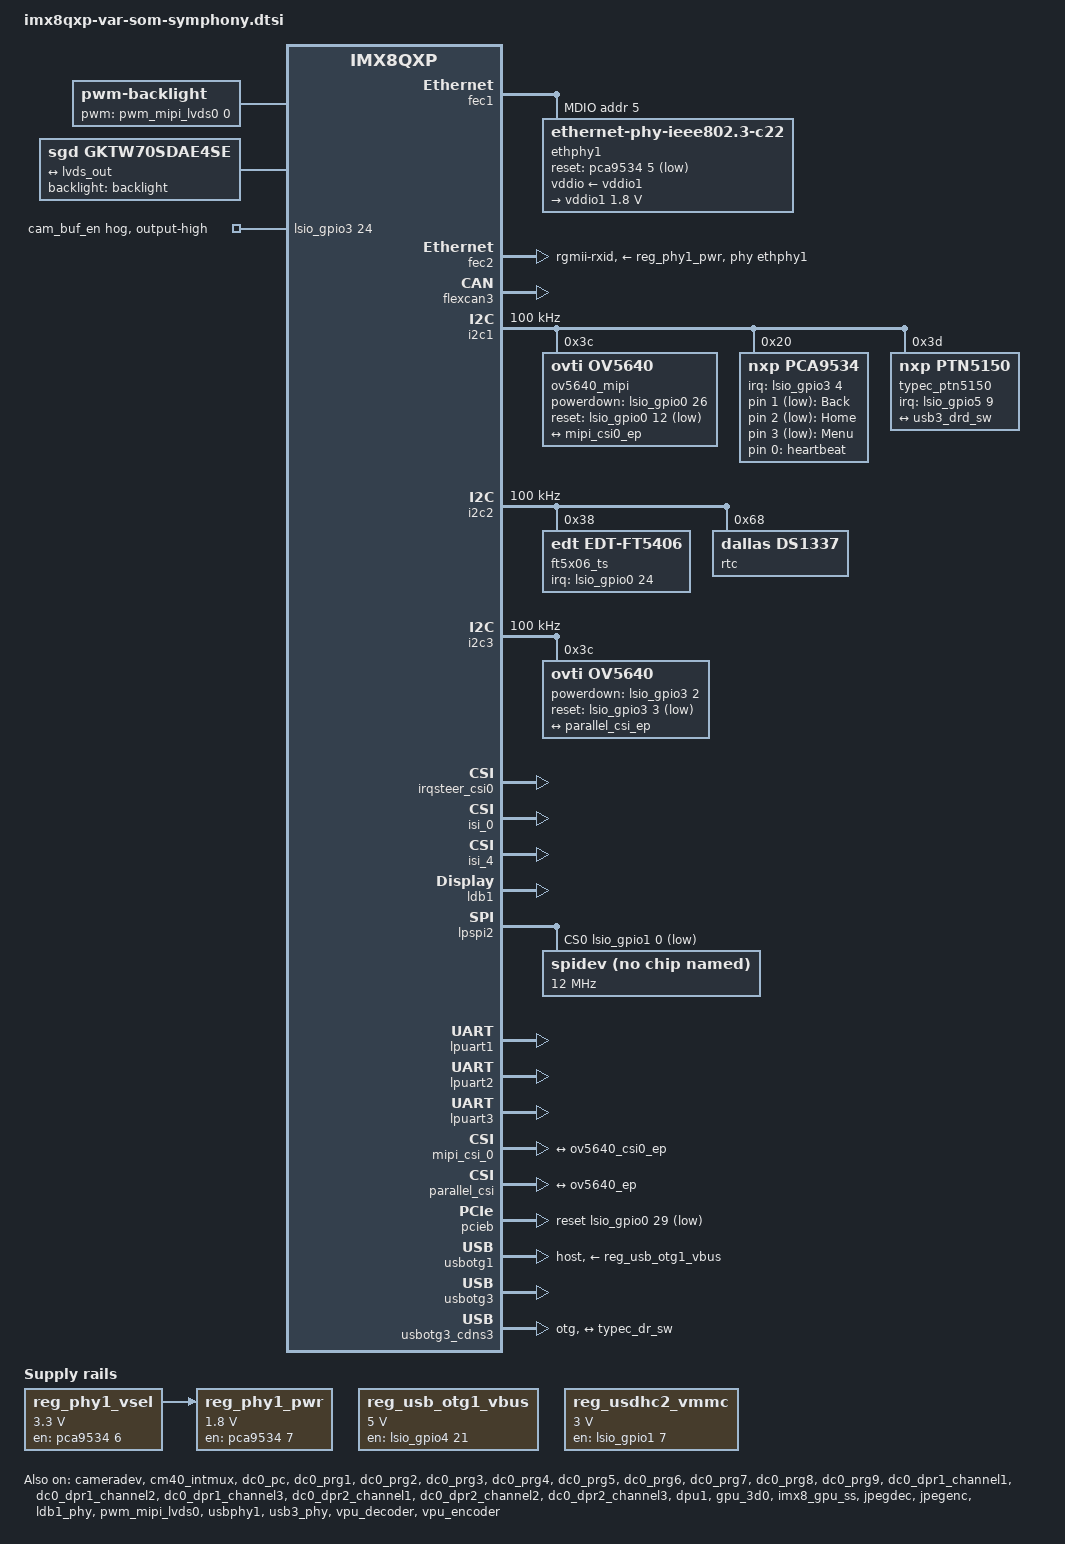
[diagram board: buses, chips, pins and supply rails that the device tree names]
// SPDX-License-Identifier: GPL-2.0+
/*
 * Copyright 2017-2020 NXP
 * Copyright 2019-2022 Variscite Ltd.
 */

#include "imx8qxp-var-som.dtsi"

/ {
	aliases {
		gpio8 = &pca9534;
	};

	chosen {
		stdout-path = &lpuart3;
	};

	backlight: backlight {
		compatible = "pwm-backlight";
		pwms = <&pwm_mipi_lvds0 0 100000 0>;

		brightness-levels = < 0  1  2  3  4  5  6  7  8  9
				     10 11 12 13 14 15 16 17 18 19
				     20 21 22 23 24 25 26 27 28 29
				     30 31 32 33 34 35 36 37 38 39
				     40 41 42 43 44 45 46 47 48 49
				     50 51 52 53 54 55 56 57 58 59
				     60 61 62 63 64 65 66 67 68 69
				     70 71 72 73 74 75 76 77 78 79
				     80 81 82 83 84 85 86 87 88 89
				     90 91 92 93 94 95 96 97 98 99
				    100>;
		default-brightness-level = <80>;
		status = "okay";
	};

	gpio-keys {
		compatible = "gpio-keys";

		back {
			label = "Back";
			gpios = <&pca9534 1 GPIO_ACTIVE_LOW>;
			linux,code = <KEY_BACK>;
		};

		home {
			label = "Home";
			gpios = <&pca9534 2 GPIO_ACTIVE_LOW>;
			linux,code = <KEY_HOME>;
		};

		 menu {
			label = "Menu";
			gpios = <&pca9534 3 GPIO_ACTIVE_LOW>;
			linux,code = <KEY_MENU>;
		};
	};

	leds {
		compatible = "gpio-leds";

		heartbeat {
			label = "heartbeat";
			gpios = <&pca9534 0 GPIO_ACTIVE_HIGH>;
			linux,default-trigger = "heartbeat";
		};
	};

	lvds_panel {
		compatible = "sgd,gktw70sdae4se", "panel-lvds";
		backlight = <&backlight>;
		width-mm = <153>;
		height-mm = <87>;
		label = "gktw70sdae4se";
		data-mapping = "jeida-24";
		status = "okay";

		panel-timing {
			clock-frequency = <29232000>;
			hactive = <800>;
			vactive = <480>;
			hback-porch = <40>;
			hfront-porch = <40>;
			vback-porch = <29>;
			vfront-porch = <13>;
			hsync-len = <48>;
			vsync-len = <3>;
			hsync-active = <0>;
			vsync-active = <0>;
			de-active = <1>;
			pixelclk-active = <0>;
		};

		port {
			panel_in: endpoint {
				remote-endpoint = <&lvds_out>;
			};
		};
	};

	regulators {
		compatible = "simple-bus";
		#address-cells = <1>;
		#size-cells = <0>;

		reg_phy1_vsel: regulator-phy1-vsel {
			compatible = "regulator-fixed";
			regulator-name = "phy1_vsel";
			regulator-min-microvolt = <3300000>;
			regulator-max-microvolt = <3300000>;
			regulator-always-on;
			gpio = <&pca9534 6 GPIO_ACTIVE_HIGH>;
			enable-active-high;
		};

		reg_phy1_pwr: regulator-phy1-pwr {
			compatible = "regulator-fixed";
			vin-supply = <&reg_phy1_vsel>;
			regulator-name = "phy1_supply";
			regulator-min-microvolt = <1800000>;
			regulator-max-microvolt = <1800000>;
			gpio = <&pca9534 7 GPIO_ACTIVE_HIGH>;
			enable-active-high;
			regulator-always-on;
		};

		reg_usb_otg1_vbus: regulator-usb-otg1-vbus {
			compatible = "regulator-fixed";
			regulator-name = "usb_otg1_vbus";
			regulator-min-microvolt = <5000000>;
			regulator-max-microvolt = <5000000>;
			gpio = <&lsio_gpio4 21 GPIO_ACTIVE_HIGH>;
			enable-active-high;
		};

		reg_usdhc2_vmmc: regulator-usdhc2-vmmc {
			compatible = "regulator-fixed";
			regulator-name = "sd_pwr";
			regulator-min-microvolt = <3000000>;
			regulator-max-microvolt = <3000000>;
			gpio = <&lsio_gpio1 7 GPIO_ACTIVE_HIGH>;
			off-on-delay = <3480>;
			enable-active-high;
		};
	};
};

&cameradev {
	parallel_csi;
	status = "okay";
};

&cm40_intmux {
	status = "okay";
};

&dc0_pc {
	status = "okay";
};

&dc0_prg1 {
	status = "okay";
};

&dc0_prg2 {
	status = "okay";

};

&dc0_prg3 {
	status = "okay";
};

&dc0_prg4 {
	status = "okay";
};

&dc0_prg5 {
	status = "okay";
};

&dc0_prg6 {
	status = "okay";
};

&dc0_prg7 {
	status = "okay";
};

&dc0_prg8 {
	status = "okay";
};

&dc0_prg9 {
	status = "okay";
};

&dc0_dpr1_channel1 {
	status = "okay";
};

&dc0_dpr1_channel2 {
	status = "okay";
};

&dc0_dpr1_channel3 {
	status = "okay";
};

&dc0_dpr2_channel1 {
	status = "okay";
};

&dc0_dpr2_channel2 {
	status = "okay";
};

&dc0_dpr2_channel3 {
	status = "okay";
};

&dpu1 {
	status = "okay";
};

&fec1 {
	mdio {
		ethphy1: ethernet-phy@5 {
			compatible = "ethernet-phy-ieee802.3-c22";
			reg = <5>;
			qca,disable-smarteee;
			vddio-supply = <&vddio1>;
			adi,phy-mode-override = "rgmii";
			reset-gpios = <&pca9534 5 GPIO_ACTIVE_LOW>;
			reset-assert-us = <100000>;
			reset-deassert-us = <100000>;

			vddio1: vddio-regulator {
				regulator-min-microvolt = <1800000>;
				regulator-max-microvolt = <1800000>;
			};
		};
	};
};

&fec2 {
	pinctrl-names = "default";
	pinctrl-0 = <&pinctrl_fec2>;
	phy-mode = "rgmii-rxid";
	phy-handle = <&ethphy1>;
	fsl,magic-packet;
	status = "okay";
	phy-supply = <&reg_phy1_pwr>;
};

&flexcan3 {
	pinctrl-names = "default";
	pinctrl-0 = <&pinctrl_flexcan3>;
	status = "okay";
};

&gpu_3d0 {
	status = "okay";
};

&i2c1 {
	#address-cells = <1>;
	#size-cells = <0>;
	clock-frequency = <100000>;
	pinctrl-names = "default";
	pinctrl-0 = <&pinctrl_lpi2c1>;
	status = "okay";

	/* MIPI-CSI2 sensor */
	ov5640_mipi: ov5640_mipi@3c {
		status = "okay";
		compatible = "ovti,ov5640";
		reg = <0x3c>;
		clocks = <&xtal24m>;
		clock-names = "xclk";
		csi_id = <0>;
		powerdown-gpios = <&lsio_gpio0 26 GPIO_ACTIVE_HIGH>;
		reset-gpios = <&lsio_gpio0 12 GPIO_ACTIVE_LOW>;
		mclk = <24000000>;
		mclk_source = <0>;
		mipi_csi;

		port {
			ov5640_csi0_ep: endpoint {
				remote-endpoint = <&mipi_csi0_ep>;
				data-lanes = <1 2>;
				clocks-lanes = <0>;
			};
		};
	};

	/* GPIO expander */
	pca9534:gpio@20 {
		compatible = "nxp,pca9534";
		reg = <0x20>;
		gpio-controller;
		pinctrl-names = "default";
		pinctrl-0 = <&pinctrl_pca9534>;
		interrupt-parent = <&lsio_gpio3>;
		interrupts = <4 IRQ_TYPE_EDGE_FALLING>;
		#gpio-cells = <2>;

		usb3_sel_hog {
			gpio-hog;
			gpios = <4 0>;
			output-low;
			line-name = "usb3_sel";
		};
	};

	/* USB-C controller */
	typec_ptn5150: typec@3d {
		status = "okay";
		compatible = "nxp,ptn5150";
		reg = <0x3d>;
		pinctrl-names = "default";
		pinctrl-0 = <&pinctrl_typec>;
		interrupt-parent = <&lsio_gpio5>;
		interrupts = <9 IRQ_TYPE_LEVEL_HIGH>;
		irq-is-id-quirk;

		port {
			typec_dr_sw: endpoint {
				remote-endpoint = <&usb3_drd_sw>;
			};
		};
	};
};

&i2c2 {
	#address-cells = <1>;
	#size-cells = <0>;
	clock-frequency = <100000>;
	pinctrl-names = "default";
	pinctrl-0 = <&pinctrl_lpi2c2>;
	status = "okay";

	/* Capacitive touch controller */
	ft5x06_ts: ft5x06_ts@38 {
		status = "okay";
		compatible = "edt,edt-ft5406";
		reg = <0x38>;
		pinctrl-names = "default";
		pinctrl-0 = <&pinctrl_captouch>;
		interrupt-parent = <&lsio_gpio0>;
		interrupts = <24 0>;
		touchscreen-size-x = <800>;
		touchscreen-size-y = <480>;
		touchscreen-inverted-x;
		touchscreen-inverted-y;
	};

	/* DS1337 RTC module */
	rtc@68 {
		status = "okay";
		compatible = "dallas,ds1337";
		reg = <0x68>;
	};
};

&i2c3 {
	#address-cells = <1>;
	#size-cells = <0>;
	clock-frequency = <100000>;
	pinctrl-names = "default";
	pinctrl-0 = <&pinctrl_lpi2c3>;
	status = "okay";

	/* Parallel CSI sensor */
	ov5640: ov5640@3c {
		compatible = "ovti,ov5640";
		reg = <0x3c>;
		pinctrl-names = "default";
		pinctrl-0 = <&pinctrl_parallel_csi>;
		clocks = <&pi0_misc_lpcg 0>;
		assigned-clocks = <&pi0_misc_lpcg 0>;
		clock-names = "xclk";
		powerdown-gpios = <&lsio_gpio3 2 GPIO_ACTIVE_HIGH>;
		reset-gpios = <&lsio_gpio3 3 GPIO_ACTIVE_LOW>;
		csi_id = <0>;
		mclk = <24000000>;
		mclk_source = <0>;
		status = "okay";

		port {
			ov5640_ep: endpoint {
				remote-endpoint = <&parallel_csi_ep>;
				bus-type = <5>; /* V4L2_FWNODE_BUS_TYPE_PARALLEL */
				bus-width = <8>;
				vsync-active = <0>;
				hsync-active = <1>;
				pclk-sample = <1>;
			};
		};
	};
};

&iomuxc {
	pinctrl_captouch: captouchgrp {
		fsl,pins = <
			IMX8QXP_UART1_CTS_B_LSIO_GPIO0_IO24			0xC0000041
			/* Workaround for capacitive touch problem on Symphony board 1.1 */
			IMX8QXP_UART1_RTS_B_LSIO_GPT1_CAPTURE			0x06000020
		>;
	};

	pinctrl_fec2: fec2grp {
		fsl,pins = <
			IMX8QXP_ESAI0_SCKR_CONN_ENET1_RGMII_TX_CTL		0x00000060
			IMX8QXP_ESAI0_FSR_CONN_ENET1_RGMII_TXC			0x00000060
			IMX8QXP_ESAI0_TX4_RX1_CONN_ENET1_RGMII_TXD0		0x00000060
			IMX8QXP_ESAI0_TX5_RX0_CONN_ENET1_RGMII_TXD1		0x00000060
			IMX8QXP_ESAI0_FST_CONN_ENET1_RGMII_TXD2			0x00000060
			IMX8QXP_ESAI0_SCKT_CONN_ENET1_RGMII_TXD3		0x00000060
			IMX8QXP_ESAI0_TX0_CONN_ENET1_RGMII_RXC			0x00000060
			IMX8QXP_SPDIF0_TX_CONN_ENET1_RGMII_RX_CTL		0x00000060
			IMX8QXP_SPDIF0_RX_CONN_ENET1_RGMII_RXD0			0x00000060
			IMX8QXP_ESAI0_TX3_RX2_CONN_ENET1_RGMII_RXD1		0x00000060
			IMX8QXP_ESAI0_TX2_RX3_CONN_ENET1_RGMII_RXD2		0x00000060
			IMX8QXP_ESAI0_TX1_CONN_ENET1_RGMII_RXD3			0x00000060
		>;
	};

	pinctrl_flexcan3: flexcan3grp {
		fsl,pins = <
			IMX8QXP_FLEXCAN2_TX_ADMA_FLEXCAN2_TX			0x06000020
			IMX8QXP_FLEXCAN2_RX_ADMA_FLEXCAN2_RX			0x06000020
		>;
	};

	pinctrl_lpi2c1: lpi2c1grp {
		fsl,pins = <
			IMX8QXP_USB_SS3_TC0_ADMA_I2C1_SCL			0x06000021
			IMX8QXP_USB_SS3_TC2_ADMA_I2C1_SDA			0x06000021
		>;
	};

	pinctrl_lpi2c2: lpi2c2grp {
		fsl,pins = <
			IMX8QXP_MIPI_DSI1_GPIO0_00_ADMA_I2C2_SCL		0x06000021
			IMX8QXP_MIPI_DSI1_GPIO0_01_ADMA_I2C2_SDA		0x06000021
		>;
	};

	pinctrl_lpi2c3: lpi2c3grp {
		fsl,pins = <
			IMX8QXP_SPI3_CS1_ADMA_I2C3_SCL				0x06000021
			IMX8QXP_MCLK_IN1_ADMA_I2C3_SDA				0x06000021
		>;
	};

	pinctrl_lpuart1: lpuart1grp {
		fsl,pins = <
			IMX8QXP_UART1_TX_ADMA_UART1_TX				0x06000020
			IMX8QXP_UART1_RX_ADMA_UART1_RX				0x06000020
		>;
	};

	pinctrl_lpuart2: lpuart2grp {
		fsl,pins = <
			IMX8QXP_UART2_TX_ADMA_UART2_TX				0x06000020
			IMX8QXP_UART2_RX_ADMA_UART2_RX				0x06000020
		>;
	};

	pinctrl_lpuart3: lpuart3grp {
		fsl,pins = <
			IMX8QXP_SCU_GPIO0_00_ADMA_UART3_RX			0x06000020
			IMX8QXP_SCU_GPIO0_01_ADMA_UART3_TX			0x06000020
		>;
	};

	pinctrl_lpspi2: lpspi2grp {
		fsl,pins = <
			IMX8QXP_SPI2_SCK_ADMA_SPI2_SCK				0x0600004c
			IMX8QXP_MCLK_IN0_ADMA_SPI2_SDI				0x0600004c
			IMX8QXP_SPI2_SDO_ADMA_SPI2_SDO				0x0600004c
			IMX8QXP_SPI2_CS0_LSIO_GPIO1_IO00			0x00000021
		>;
	};

	pinctrl_mipi_csi0: mipicsi0grp {
		fsl,pins = <
			IMX8QXP_QSPI0B_SS1_B_LSIO_GPIO3_IO24			0xC0000041
			IMX8QXP_SPDIF0_EXT_CLK_LSIO_GPIO0_IO12			0xC0000041
			IMX8QXP_SAI0_TXC_LSIO_GPIO0_IO26			0xC0000041
		>;
	};

	pinctrl_parallel_csi: parallelcsigrp {
		fsl,pins = <
			IMX8QXP_CSI_D00_CI_PI_D02				0xC0000041
			IMX8QXP_CSI_D01_CI_PI_D03				0xC0000041
			IMX8QXP_CSI_D02_CI_PI_D04				0xC0000041
			IMX8QXP_CSI_D03_CI_PI_D05				0xC0000041
			IMX8QXP_CSI_D04_CI_PI_D06				0xC0000041
			IMX8QXP_CSI_D05_CI_PI_D07				0xC0000041
			IMX8QXP_CSI_D06_CI_PI_D08				0xC0000041
			IMX8QXP_CSI_D07_CI_PI_D09				0xC0000041

			IMX8QXP_CSI_PCLK_CI_PI_PCLK				0xC0000041
			IMX8QXP_CSI_HSYNC_CI_PI_HSYNC				0xC0000041
			IMX8QXP_CSI_VSYNC_CI_PI_VSYNC				0xC0000041
			IMX8QXP_CSI_EN_LSIO_GPIO3_IO02				0xC0000041
			IMX8QXP_CSI_RESET_LSIO_GPIO3_IO03			0xC0000041
		>;
	};

	pinctrl_pca9534: pca9534grp {
		fsl,pins = <
			IMX8QXP_MIPI_CSI0_MCLK_OUT_LSIO_GPIO3_IO04		0xC0000041
		>;
	};

	pinctrl_pwm_mipi_lvds0: mipi_lvds0_pwm_grp {
		fsl,pins = <
			IMX8QXP_MIPI_DSI0_GPIO0_00_MIPI_DSI0_PWM0_OUT		0x00000020
		>;
	};

	pinctrl_pcieb: pciebgrp {
		fsl,pins = <
			IMX8QXP_SAI1_RXD_LSIO_GPIO0_IO29			0x60000021
		>;
	};

	pinctrl_typec: typecgrp {
		fsl,pins = <
			IMX8QXP_ENET0_REFCLK_125M_25M_LSIO_GPIO5_IO09		0x00000060
		>;
	};

	pinctrl_usb1otg: usb1otggrp {
		fsl,pins = <
			IMX8QXP_USDHC1_WP_LSIO_GPIO4_IO21			0xC0000041
		>;
	};
};

&imx8_gpu_ss {
	status = "okay";
};

&irqsteer_csi0 {
	status = "okay";
};

&isi_0 {
	status = "okay";

	cap_device {
		status = "okay";
	};

	m2m_device {
		status = "okay";
	};
};

&isi_1 {
	status = "disabled";
};

&isi_2 {
	status = "disabled";
};

&isi_3 {
	status = "disabled";
};

&isi_4 {
	status = "okay";
	interface = <6 0 2>;
	parallel_csi;

	cap_device {
		status = "okay";
	};
};

&jpegdec {
	status = "okay";
};

&jpegenc {
	status = "okay";
};

&ldb1_phy {
	status = "okay";
};

&ldb1 {
	status = "okay";
	lvds-channel@0 {
		fsl,data-mapping = "jeida";
		fsl,data-width = <24>;
		status = "okay";

		port@1 {
			reg = <1>;

			lvds_out: endpoint {
				remote-endpoint = <&panel_in>;
			};
		};
	};
};

&ldb2_phy {
	status = "disabled";
};

&ldb2 {
	status = "disabled";
};

&lpspi2 {
	#address-cells = <1>;
	#size-cells = <0>;
	pinctrl-names = "default";
	pinctrl-0 = <&pinctrl_lpspi2>;
	cs-gpios = <&lsio_gpio1 0 GPIO_ACTIVE_LOW>;
	status = "okay";

	spidev@0 {
		compatible = "var,spidev";
		spi-max-frequency = <12000000>;
		reg = <0>;
		status = "okay";
	};
};

/* Header */
&lpuart1 {
	pinctrl-names = "default";
	pinctrl-0 = <&pinctrl_lpuart1>;
	status = "okay";
};

/* Header */
&lpuart2 {
	pinctrl-names = "default";
	pinctrl-0 = <&pinctrl_lpuart2>;
	status = "okay";
};

/* Console */
&lpuart3 {
	pinctrl-names = "default";
	pinctrl-0 = <&pinctrl_lpuart3>;
	/delete-property/ dmas;
	/delete-property/ dma-names;
	status = "okay";
};

&lsio_gpio0 {
	/* Enable wakeup-source from Capacitive touch */

	pad-wakeup-num = <1>;	/* Total number of wakeup pads in gpio0 bank */

	/*
	 IMX8QXP_UART1_CTS_B:   Touch IRQ pin id
	 SC_PAD_WAKEUP_LOW_LVL: trigger type
	 24:                    Touch IRQ gpio pin
	*/
	pad-wakeup = <IMX8QXP_UART1_CTS_B SC_PAD_WAKEUP_LOW_LVL 24>;
};

&lsio_gpio3 {
	/* Enable wakeup-source from all pca9534 gpio-keys*/

	pad-wakeup-num = <1>;	/* Total number of wakeup pads in gpio1 bank */

	/*
	 IMX8QXP_MIPI_CSI0_MCLK_OUT: PCA9534 IRQ pin id
	 SC_PAD_WAKEUP_LOW_LVL:      trigger type
	 4:                          PCA9534 IRQ gpio pin
	*/
	pad-wakeup = <IMX8QXP_MIPI_CSI0_MCLK_OUT SC_PAD_WAKEUP_LOW_LVL 4>;
};

&lsio_gpio3 {
	pinctrl-names = "default";
	pinctrl-0 = <&pinctrl_mipi_csi0>;

	cam_buf_hog {
		gpio-hog;
		gpios = <24 0>;
		output-high;
		line-name = "cam_buf_en";
	};
};

&mipi_csi_0 {
	#address-cells = <1>;
	#size-cells = <0>;
	status = "okay";

	/* Camera 0  MIPI CSI-2 (CSIS0) */
	port@0 {
		reg = <0>;
		mipi_csi0_ep: endpoint {
			remote-endpoint = <&ov5640_csi0_ep>;
			data-lanes = <1 2>;
		};
	};
};

&parallel_csi {
	#address-cells = <1>;
	#size-cells = <0>;
	status = "okay";

	port@0 {
		reg = <0>;
		parallel_csi_ep: endpoint {
			remote-endpoint = <&ov5640_ep>;
		};
	};
};

&pcieb{
	compatible = "fsl,imx8qxp-pcie","snps,dw-pcie";
	pinctrl-names = "default";
	pinctrl-0 = <&pinctrl_pcieb>;
	reset-gpio = <&lsio_gpio0 29 GPIO_ACTIVE_LOW>;
	ext_osc = <1>;
	status = "okay";
};

&pwm_mipi_lvds0 {
	pinctrl-names = "default";
	pinctrl-0 = <&pinctrl_pwm_mipi_lvds0>;
	status = "okay";
};

&rtc {
	status = "disabled";
};

&usbphy1 {
	status = "okay";
};

&usbotg1 {
	vbus-supply = <&reg_usb_otg1_vbus>;
	srp-disable;
	hnp-disable;
	adp-disable;
	power-polarity-active-high;
	disable-over-current;
	status = "okay";
	dr_mode = "host";
	pinctrl-names = "default";
	pinctrl-0 = <&pinctrl_usb1otg>;
};

&usb3_phy {
	status = "okay";
};

&usbotg3 {
	status = "okay";
};

&usbotg3_cdns3 {
	dr_mode = "otg";
	usb-role-switch;
	status = "okay";

	port {
		usb3_drd_sw: endpoint {
			remote-endpoint = <&typec_dr_sw>;
		};
	};
};

&vpu_decoder {
	status = "okay";
};

&vpu_encoder {
	status = "okay";

};

/delete-node/ &adc1;
/delete-node/ &adc1_lpcg;
/delete-node/ &emvsim0;
/delete-node/ &emvsim0_lpcg;
/delete-node/ &hdmi_rx_pxl_link_lpcg;
